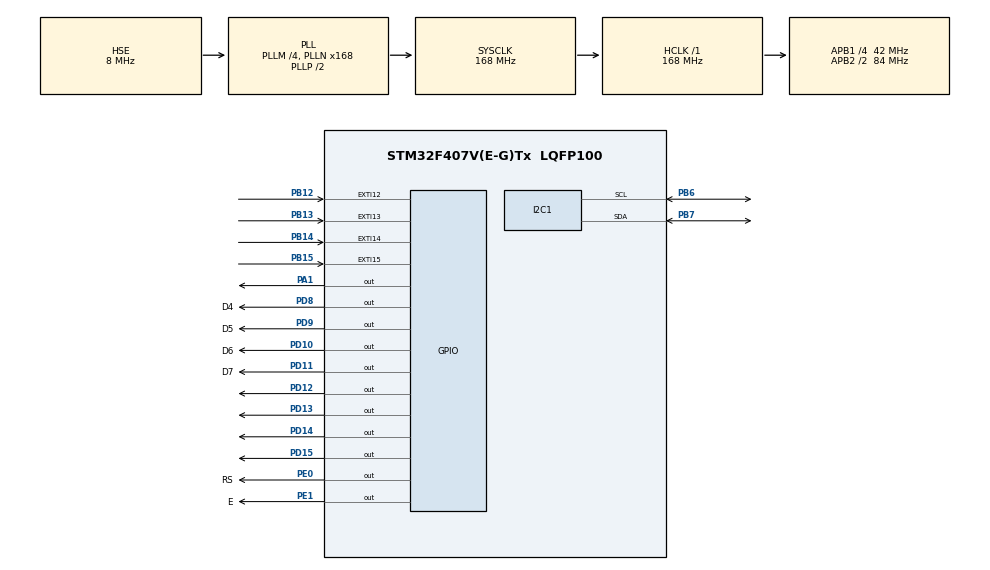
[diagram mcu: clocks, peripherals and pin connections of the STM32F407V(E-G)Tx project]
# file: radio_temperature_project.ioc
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Mcu.Family=STM32F4
Mcu.Name=STM32F407V(E-G)Tx
Mcu.Package=LQFP100
NVIC.EXTI15_10_IRQn=true\:0\:0\:true\:false\:true\:true\:true
NVIC.PriorityGroup=NVIC_PRIORITYGROUP_4
NVIC.TIM4_IRQn=true\:1\:0\:true\:false\:true\:true\:true
PA1.Signal=GPIO_Output
PB12.GPIO_PuPd=GPIO_PULLDOWN
PB12.Signal=GPXTI12
PB13.GPIO_PuPd=GPIO_PULLDOWN
PB13.Signal=GPXTI13
PB14.GPIO_PuPd=GPIO_PULLDOWN
PB14.Signal=GPXTI14
PB15.GPIO_PuPd=GPIO_PULLDOWN
PB15.Signal=GPXTI15
PB6.Mode=I2C
PB6.Signal=I2C1_SCL
PB7.Mode=I2C
PB7.Signal=I2C1_SDA
PD10.GPIO_Label=D6
PD10.Signal=GPIO_Output
PD11.GPIO_Label=D7
PD11.Signal=GPIO_Output
PD12.Signal=GPIO_Output
PD13.Signal=GPIO_Output
PD14.Signal=GPIO_Output
PD15.Signal=GPIO_Output
PD8.GPIO_Label=D4
PD8.Signal=GPIO_Output
PD9.GPIO_Label=D5
PD9.Signal=GPIO_Output
PE0.GPIO_Label=RS
PE0.Signal=GPIO_Output
PE1.GPIO_Label=E
PE1.Signal=GPIO_Output
PH0-OSC_IN.Mode=HSE-External-Oscillator
PH0-OSC_IN.Signal=RCC_OSC_IN
PH1-OSC_OUT.Mode=HSE-External-Oscillator
PH1-OSC_OUT.Signal=RCC_OSC_OUT
ProjectManager.HeapSize=0x200
ProjectManager.StackSize=0x400
ProjectManager.TargetToolchain=STM32CubeIDE
RCC.48MHZClocksFreq_Value=84000000
RCC.AHBFreq_Value=168000000
RCC.APB1CLKDivider=RCC_HCLK_DIV4
RCC.APB1Freq_Value=42000000
RCC.APB1TimFreq_Value=84000000
RCC.APB2CLKDivider=RCC_HCLK_DIV2
RCC.APB2Freq_Value=84000000
RCC.APB2TimFreq_Value=168000000
RCC.CortexFreq_Value=168000000
RCC.HCLKFreq_Value=168000000
RCC.HSE_VALUE=8000000
RCC.HSI_VALUE=16000000
RCC.LSE_VALUE=32768
RCC.PLLM=4
RCC.PLLN=168
RCC.PLLSourceVirtual=RCC_PLLSOURCE_HSE
RCC.SYSCLKFreq_VALUE=168000000
RCC.SYSCLKSource=RCC_SYSCLKSOURCE_PLLCLK
RCC.VCOOutputFreq_Value=336000000
TIM3.Period=0xffff-1
TIM3.Prescaler=84-1
TIM4.Period=29999
TIM4.Prescaler=8399
VP_TIM3_VS_ClockSourceINT.Mode=Internal
VP_TIM4_VS_ClockSourceINT.Mode=Internal
board=custom

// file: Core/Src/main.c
/* USER CODE BEGIN Header */
/**
  ******************************************************************************
  * @file           : main.c
  * @brief          : Main program body
  ******************************************************************************
  * @attention
  *
  * <h2><center>&copy; Copyright (c) 2020 STMicroelectronics.
  * All rights reserved.</center></h2>
  *
  * This software component is licensed by ST under BSD 3-Clause license,
  * the "License"; You may not use this file except in compliance with the
  * License. You may obtain a copy of the License at:
  *                        opensource.org/licenses/BSD-3-Clause
  *
  ******************************************************************************
  */
/* USER CODE END Header */

#include "main.h"

/* USER CODE BEGIN Includes */
#include "rda5807m.h"
#include "stdio.h"
#include "lcd1602.h"
#include "ds18b20.h"
/* USER CODE END Includes */

I2C_HandleTypeDef hi2c1;

TIM_HandleTypeDef htim3;
TIM_HandleTypeDef htim4;

/* USER CODE BEGIN PV */

//DS18B20
int TEMP_beforeComma, TEMP_decimalParts;
float TEMP_floatDecimalParts;
float TEMP_value = 0;
uint8_t TEMP_byte1, TEMP_byte2, DS18B20_presence;
uint16_t TEMP_bytes;
char TEMP_charValue[6];

//RDA5807M - RDS
char* RDS_data="RadPogod";
char RDS_stationName[8];

//RDA5807M -  frequency
int RADIO_volume = 10;
char RADIO_freq[7] = "xxxxxxx";
char RADIO_rawFreq[6];
/* USER CODE END PV */

void SystemClock_Config(void);
static void MX_GPIO_Init(void);
static void MX_I2C1_Init(void);
static void MX_TIM3_Init(void);
static void MX_TIM4_Init(void);
/* USER CODE BEGIN PFP */
void delay(uint16_t time){
	__HAL_TIM_SET_COUNTER(&htim3, 0);
	while((__HAL_TIM_GET_COUNTER(&htim3))<time);
}

void HAL_GPIO_EXTI_Callback(uint16_t GPIO_Pin){
	if(HAL_GPIO_ReadPin(GPIOB, GPIO_PIN_12) == GPIO_PIN_SET) { //Volume up
		//HAL_GPIO_WritePin(GPIOD, GPIO_PIN_12,1);
		++RADIO_volume;
		RDA5807M_setVolume(&hi2c1, RADIO_volume);
	}
	if(HAL_GPIO_ReadPin(GPIOB, GPIO_PIN_13) == GPIO_PIN_SET) { //Volume down
		--RADIO_volume;
		//HAL_GPIO_WritePin(GPIOD, GPIO_PIN_13,1);
		RDA5807M_setVolume(&hi2c1, RADIO_volume);
	}
	if(HAL_GPIO_ReadPin(GPIOB, GPIO_PIN_14) == GPIO_PIN_SET) { //Channel down
		//HAL_GPIO_WritePin(GPIOD, GPIO_PIN_14,1);
		RDA5807M_seek(&hi2c1,0);
	}
	if(HAL_GPIO_ReadPin(GPIOB, GPIO_PIN_15) == GPIO_PIN_SET) { //Channel up
		RDA5807M_seek(&hi2c1,1);
		//HAL_GPIO_WritePin(GPIOD, GPIO_PIN_15,1);
	}
}

void HAL_TIM_PeriodElapsedCallback(TIM_HandleTypeDef *htim){

	if(htim->Instance == TIM4){
		DS18B20_presence = DS18B20_Start();
		if(DS18B20_presence == -1){
			//HAL_GPIO_WritePin(GPIOD, GPIO_PIN_13,1);
		}

		delay(1000);
		DS18B20_Write(0xCC);
		DS18B20_Write(0x44);

		delay(60000); //mikrosekundy
		delay(60000);
		delay(60000);
		delay(60000);
		delay(60000);
		delay(60000);
		delay(60000);
		delay(60000);
		delay(60000);
		delay(60000);
		delay(60000);
		delay(60000);
		delay(60000);
		delay(20000); //łącznie 0,8 sekundy

		DS18B20_presence = DS18B20_Start();
		if(DS18B20_presence == -1){
			//HAL_GPIO_WritePin(GPIOD, GPIO_PIN_14,1);
		}
		delay(1000);
		DS18B20_Write(0xCC);
		DS18B20_Write(0xBE);

		TEMP_byte1 = DS18B20_Read();
		TEMP_byte2 = DS18B20_Read();
		TEMP_bytes = (TEMP_byte2<<8)|TEMP_byte1;
		TEMP_value = (float)TEMP_bytes/16;

		TEMP_beforeComma = (int)TEMP_value;
		TEMP_floatDecimalParts = TEMP_value - TEMP_beforeComma;
		TEMP_decimalParts = trunc(TEMP_floatDecimalParts*10);
		sprintf(TEMP_charValue, "%d.%d\337C",TEMP_beforeComma,TEMP_decimalParts);

	}
}

void processFrequency(uint16_t freq){
	sprintf(RADIO_rawFreq, "%d", freq);
	if(RADIO_rawFreq[0]=='1'){
		RADIO_freq[0]=RADIO_rawFreq[0];
		RADIO_freq[1]=RADIO_rawFreq[1];
		RADIO_freq[2]=RADIO_rawFreq[2];
		RADIO_freq[3]='.';
		RADIO_freq[4]=RADIO_rawFreq[3];
		}else{
			RADIO_freq[0]=RADIO_rawFreq[0];
			RADIO_freq[1]=RADIO_rawFreq[1];
			RADIO_freq[2]='.';
			RADIO_freq[3]=RADIO_rawFreq[2];
		}
}

void processStationName(){
	for(int i=0; i<7; i++){
		RDS_stationName[i] = RDS_data[i];
	}
}
/* USER CODE END PFP */

int main(void)
{

  /* MCU Configuration--------------------------------------------------------*/

  /* Reset of all peripherals, Initializes the Flash interface and the Systick. */
  HAL_Init();

  /* Configure the system clock */
  SystemClock_Config();

  /* Initialize all configured peripherals */
  MX_GPIO_Init();
  MX_I2C1_Init();
  MX_TIM3_Init();
  MX_TIM4_Init();
  /* USER CODE BEGIN 2 */
  HAL_TIM_Base_Start(&htim3);
  HAL_TIM_Base_Start_IT(&htim4);

  RDA5807M_init(&hi2c1);
  RDA5807M_setFreq(&hi2c1,870);
  RDA5807M_seek(&hi2c1, 1);
  RDA5807M_setVolume(&hi2c1,RADIO_volume);

  LCD1602_Begin4BIT(RS_GPIO_Port, RS_Pin, E_Pin, D4_GPIO_Port, D4_Pin, D5_Pin, D6_Pin, D7_Pin);
  LCD1602_noCursor();
  LCD1602_noBlink();

  RDS_data = malloc(sizeof(char)*8);
  /* USER CODE END 2 */

  /* Infinite loop */
  /* USER CODE BEGIN WHILE */
  while (1)
  {
	  LCD1602_clear();

	  LCD1602_setCursor(1,1);
	  processFrequency(RDA5807M_getFreq(&hi2c1));
	  LCD1602_print(RADIO_freq);

	  LCD1602_setCursor(1,9);
	  LCD1602_print(TEMP_charValue);

	  LCD1602_setCursor(2,1);
	  RDA5807M_readRDS(&hi2c1);
	  RDS_data = RDA5807M_getStationName();
	  processStationName();
	  LCD1602_print(RDS_stationName);

	  HAL_Delay(1000);
    /* USER CODE END WHILE */

  }
}

void SystemClock_Config(void)
{
  RCC_OscInitTypeDef RCC_OscInitStruct = {0};
  RCC_ClkInitTypeDef RCC_ClkInitStruct = {0};

  /** Configure the main internal regulator output voltage
  */
  __HAL_RCC_PWR_CLK_ENABLE();
  __HAL_PWR_VOLTAGESCALING_CONFIG(PWR_REGULATOR_VOLTAGE_SCALE1);
  /** Initializes the CPU, AHB and APB busses clocks
  */
  RCC_OscInitStruct.OscillatorType = RCC_OSCILLATORTYPE_HSE;
  RCC_OscInitStruct.HSEState = RCC_HSE_ON;
  RCC_OscInitStruct.PLL.PLLState = RCC_PLL_ON;
  RCC_OscInitStruct.PLL.PLLSource = RCC_PLLSOURCE_HSE;
  RCC_OscInitStruct.PLL.PLLM = 4;
  RCC_OscInitStruct.PLL.PLLN = 168;
  RCC_OscInitStruct.PLL.PLLP = RCC_PLLP_DIV2;
  RCC_OscInitStruct.PLL.PLLQ = 4;
  if (HAL_RCC_OscConfig(&RCC_OscInitStruct) != HAL_OK)
  {
    Error_Handler();
  }
  /** Initializes the CPU, AHB and APB busses clocks
  */
  RCC_ClkInitStruct.ClockType = RCC_CLOCKTYPE_HCLK|RCC_CLOCKTYPE_SYSCLK
                              |RCC_CLOCKTYPE_PCLK1|RCC_CLOCKTYPE_PCLK2;
  RCC_ClkInitStruct.SYSCLKSource = RCC_SYSCLKSOURCE_PLLCLK;
  RCC_ClkInitStruct.AHBCLKDivider = RCC_SYSCLK_DIV1;
  RCC_ClkInitStruct.APB1CLKDivider = RCC_HCLK_DIV4;
  RCC_ClkInitStruct.APB2CLKDivider = RCC_HCLK_DIV2;

  if (HAL_RCC_ClockConfig(&RCC_ClkInitStruct, FLASH_LATENCY_5) != HAL_OK)
  {
    Error_Handler();
  }
}

static void MX_I2C1_Init(void)
{

  hi2c1.Instance = I2C1;
  hi2c1.Init.ClockSpeed = 100000;
  hi2c1.Init.DutyCycle = I2C_DUTYCYCLE_2;
  hi2c1.Init.OwnAddress1 = 0;
  hi2c1.Init.AddressingMode = I2C_ADDRESSINGMODE_7BIT;
  hi2c1.Init.DualAddressMode = I2C_DUALADDRESS_DISABLE;
  hi2c1.Init.OwnAddress2 = 0;
  hi2c1.Init.GeneralCallMode = I2C_GENERALCALL_DISABLE;
  hi2c1.Init.NoStretchMode = I2C_NOSTRETCH_DISABLE;
  if (HAL_I2C_Init(&hi2c1) != HAL_OK)
  {
    Error_Handler();
  }

}

static void MX_TIM3_Init(void)
{

  TIM_ClockConfigTypeDef sClockSourceConfig = {0};
  TIM_MasterConfigTypeDef sMasterConfig = {0};

  htim3.Instance = TIM3;
  htim3.Init.Prescaler = 84-1;
  htim3.Init.CounterMode = TIM_COUNTERMODE_UP;
  htim3.Init.Period = 0xffff-1;
  htim3.Init.ClockDivision = TIM_CLOCKDIVISION_DIV1;
  htim3.Init.AutoReloadPreload = TIM_AUTORELOAD_PRELOAD_DISABLE;
  if (HAL_TIM_Base_Init(&htim3) != HAL_OK)
  {
    Error_Handler();
  }
  sClockSourceConfig.ClockSource = TIM_CLOCKSOURCE_INTERNAL;
  if (HAL_TIM_ConfigClockSource(&htim3, &sClockSourceConfig) != HAL_OK)
  {
    Error_Handler();
  }
  sMasterConfig.MasterOutputTrigger = TIM_TRGO_RESET;
  sMasterConfig.MasterSlaveMode = TIM_MASTERSLAVEMODE_DISABLE;
  if (HAL_TIMEx_MasterConfigSynchronization(&htim3, &sMasterConfig) != HAL_OK)
  {
    Error_Handler();
  }

}

static void MX_TIM4_Init(void)
{

  TIM_ClockConfigTypeDef sClockSourceConfig = {0};
  TIM_MasterConfigTypeDef sMasterConfig = {0};

  htim4.Instance = TIM4;
  htim4.Init.Prescaler = 8399;
  htim4.Init.CounterMode = TIM_COUNTERMODE_UP;
  htim4.Init.Period = 29999;
  htim4.Init.ClockDivision = TIM_CLOCKDIVISION_DIV1;
  htim4.Init.AutoReloadPreload = TIM_AUTORELOAD_PRELOAD_DISABLE;
  if (HAL_TIM_Base_Init(&htim4) != HAL_OK)
  {
    Error_Handler();
  }
  sClockSourceConfig.ClockSource = TIM_CLOCKSOURCE_INTERNAL;
  if (HAL_TIM_ConfigClockSource(&htim4, &sClockSourceConfig) != HAL_OK)
  {
    Error_Handler();
  }
  sMasterConfig.MasterOutputTrigger = TIM_TRGO_RESET;
  sMasterConfig.MasterSlaveMode = TIM_MASTERSLAVEMODE_DISABLE;
  if (HAL_TIMEx_MasterConfigSynchronization(&htim4, &sMasterConfig) != HAL_OK)
  {
    Error_Handler();
  }

}

static void MX_GPIO_Init(void)
{
  GPIO_InitTypeDef GPIO_InitStruct = {0};

  /* GPIO Ports Clock Enable */
  __HAL_RCC_GPIOH_CLK_ENABLE();
  __HAL_RCC_GPIOA_CLK_ENABLE();
  __HAL_RCC_GPIOB_CLK_ENABLE();
  __HAL_RCC_GPIOD_CLK_ENABLE();
  __HAL_RCC_GPIOE_CLK_ENABLE();

  /*Configure GPIO pin Output Level */
  HAL_GPIO_WritePin(GPIOA, GPIO_PIN_1, GPIO_PIN_RESET);

  /*Configure GPIO pin Output Level */
  HAL_GPIO_WritePin(GPIOD, D4_Pin|D5_Pin|D6_Pin|D7_Pin
                          |GPIO_PIN_12|GPIO_PIN_13|GPIO_PIN_14|GPIO_PIN_15, GPIO_PIN_RESET);

  /*Configure GPIO pin Output Level */
  HAL_GPIO_WritePin(GPIOE, RS_Pin|E_Pin, GPIO_PIN_RESET);

  /*Configure GPIO pin : PA1 */
  GPIO_InitStruct.Pin = GPIO_PIN_1;
  GPIO_InitStruct.Mode = GPIO_MODE_OUTPUT_PP;
  GPIO_InitStruct.Pull = GPIO_NOPULL;
  GPIO_InitStruct.Speed = GPIO_SPEED_FREQ_LOW;
  HAL_GPIO_Init(GPIOA, &GPIO_InitStruct);

  /*Configure GPIO pins : PB12 PB13 PB14 PB15 */
  GPIO_InitStruct.Pin = GPIO_PIN_12|GPIO_PIN_13|GPIO_PIN_14|GPIO_PIN_15;
  GPIO_InitStruct.Mode = GPIO_MODE_IT_RISING;
  GPIO_InitStruct.Pull = GPIO_PULLDOWN;
  HAL_GPIO_Init(GPIOB, &GPIO_InitStruct);

  /*Configure GPIO pins : D4_Pin D5_Pin D6_Pin D7_Pin
                           PD12 PD13 PD14 PD15 */
  GPIO_InitStruct.Pin = D4_Pin|D5_Pin|D6_Pin|D7_Pin
                          |GPIO_PIN_12|GPIO_PIN_13|GPIO_PIN_14|GPIO_PIN_15;
  GPIO_InitStruct.Mode = GPIO_MODE_OUTPUT_PP;
  GPIO_InitStruct.Pull = GPIO_NOPULL;
  GPIO_InitStruct.Speed = GPIO_SPEED_FREQ_LOW;
  HAL_GPIO_Init(GPIOD, &GPIO_InitStruct);

  /*Configure GPIO pins : RS_Pin E_Pin */
  GPIO_InitStruct.Pin = RS_Pin|E_Pin;
  GPIO_InitStruct.Mode = GPIO_MODE_OUTPUT_PP;
  GPIO_InitStruct.Pull = GPIO_NOPULL;
  GPIO_InitStruct.Speed = GPIO_SPEED_FREQ_LOW;
  HAL_GPIO_Init(GPIOE, &GPIO_InitStruct);

  /* EXTI interrupt init*/
  HAL_NVIC_SetPriority(EXTI15_10_IRQn, 0, 0);
  HAL_NVIC_EnableIRQ(EXTI15_10_IRQn);

}

void Error_Handler(void)
{
}

/************************ (C) COPYRIGHT STMicroelectronics *****END OF FILE****/
